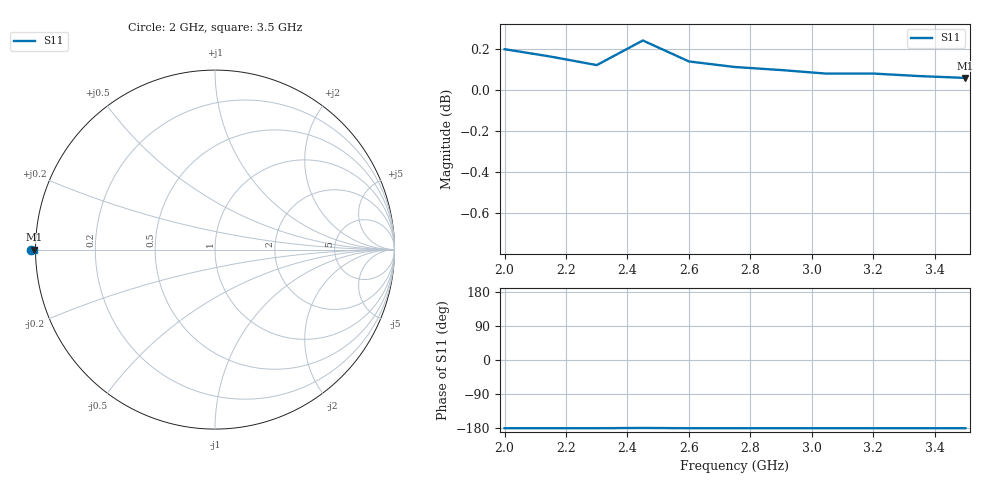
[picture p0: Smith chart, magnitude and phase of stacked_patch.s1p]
! Touchstone file generated by EdgeFEM
! Number of ports: 1
# Hz S RI R 50
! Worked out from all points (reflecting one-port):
!   11 points, 2 GHz to 3.5 GHz, reference 50 ohm
!   lowest |S11| = 0.1 dB at 3.5 GHz (marker M1)
!   phase of S11 starts at -180 deg and turns -0 deg over the sweep
2e9  -1.023 -6.96e-05
2.15e9  -1.019 -0.000135
2.3e9  -1.014 -0.000551
2.45e9  -1.028 -0.012
2.6e9  -1.016 -0.000333
2.75e9  -1.013 -0.000119
2.9e9  -1.011 -3.83e-05
3.05e9  -1.009 -2.68e-05
3.2e9  -1.009 -0.000153
3.35e9  -1.008 -6.01e-05
3.5e9  -1.007 -6.06e-05
